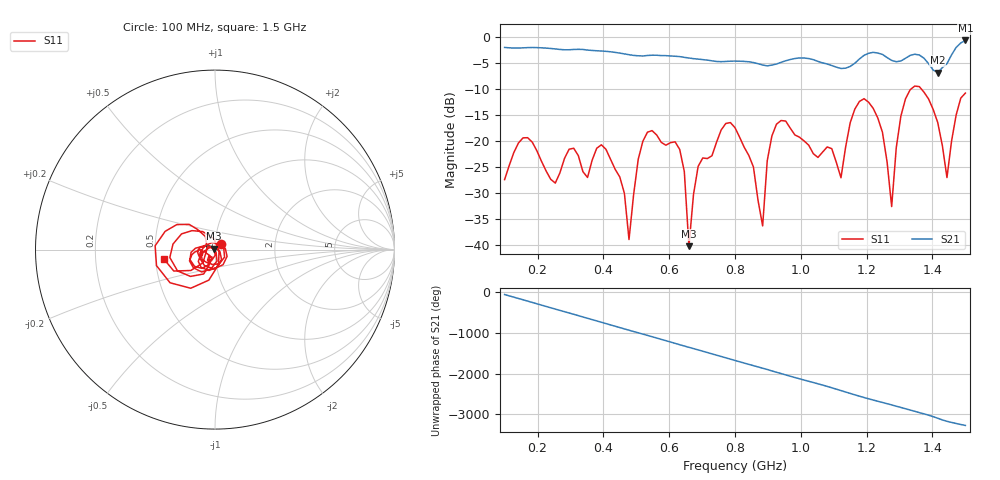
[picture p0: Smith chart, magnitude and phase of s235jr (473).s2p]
! NanoVNA-App
! Date: 2025-09-25 15:07:50
! Start: 100MHz Stop: 1,5GHz Points: 101
! S-Parameter data: F S11 S21 S12 S22
# Hz S RI R 50
!  Frequency  S11_Real  S11_Imag  S21_Real  S21_Imag  S12_Real  S12_Imag  S22_Real  S22_Imag
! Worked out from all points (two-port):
!   101 points, 100 MHz to 1.5 GHz, reference 50 ohm
!   highest |S21| = -0.62 dB at 1.5 GHz (marker M1); lowest = -6.8 dB at 1.416 GHz (marker M2)
!   |S21| within 3 dB of the highest: start of sweep to 603.4 MHz; 1.19 GHz to 1.255 GHz (65.64 MHz wide, 5.37 % of centre) (the widest 2 of 4)
!   lowest |S11| = -40.3 dB at 660 MHz (marker M3), VSWR 1.02, Z = 49.2 + j0.559 ohm
!   |S11| at or under -10 dB: start of sweep to 1.335 GHz; 1.366 GHz to end of sweep
!   S12 and S22 are empty: the file has one direction only
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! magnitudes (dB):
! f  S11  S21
! 100 MHz  -27.5  -2.0
! 156 MHz  -19.4  -2.0
! 338 MHz  -25.9  -2.3
! 408 MHz  -21.6  -2.7
! 478 MHz  -39.0  -3.4
! 520 MHz  -20.1  -3.6
! 576 MHz  -20.3  -3.5
! 632 MHz  -21.6  -3.7
! 660 MHz  -40.3  -4.0
! 688 MHz  -24.9  -4.2
! 800 MHz  -17.4  -4.6
! 884 MHz  -36.4  -5.3
! 926 MHz  -16.8  -5.2
! 1.038 GHz  -22.5  -4.3
! 1.122 GHz  -27.1  -6.0
! 1.192 GHz  -11.9  -3.5
! 1.248 GHz  -18.3  -3.3
! 1.276 GHz  -32.7  -4.5
! 1.332 GHz  -10.1  -3.5
! 1.416 GHz  -16.5  -6.8
! 1.444 GHz  -27.1  -5.1
! 1.5 GHz  -10.8  -0.6
